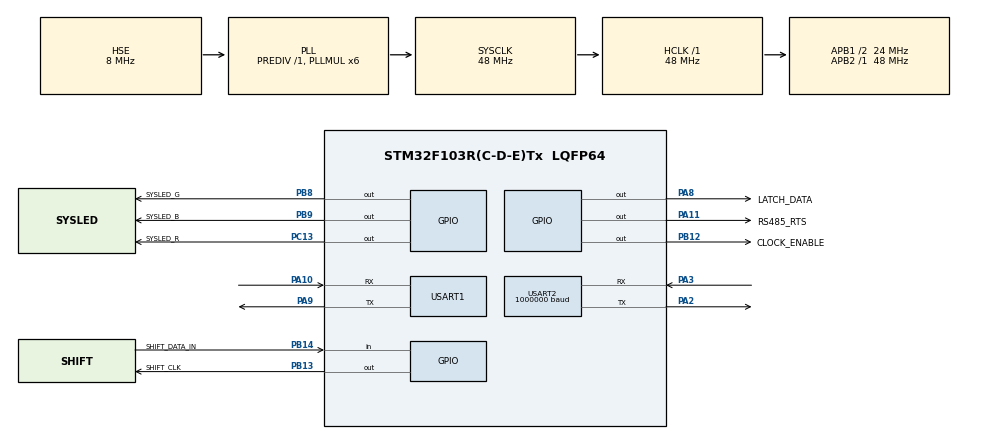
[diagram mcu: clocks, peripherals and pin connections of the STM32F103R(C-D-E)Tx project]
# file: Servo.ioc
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Mcu.Family=STM32F1
Mcu.Name=STM32F103R(C-D-E)Tx
Mcu.Package=LQFP64
NVIC.PriorityGroup=NVIC_PRIORITYGROUP_4
NVIC.TIM2_IRQn=true\:0\:0\:false\:false\:true\:true\:true\:true
NVIC.USART1_IRQn=true\:0\:0\:false\:false\:true\:true\:true\:true
NVIC.USART2_IRQn=true\:0\:0\:false\:false\:true\:true\:true\:true
PA10.Mode=Asynchronous
PA10.Signal=USART1_RX
PA11.GPIO_Label=RS485_RTS
PA11.Signal=GPIO_Output
PA13.Mode=Serial_Wire
PA13.Signal=SYS_JTMS-SWDIO
PA14.Mode=Serial_Wire
PA14.Signal=SYS_JTCK-SWCLK
PA2.Mode=Asynchronous
PA2.Signal=USART2_TX
PA3.Mode=Asynchronous
PA3.Signal=USART2_RX
PA8.GPIO_Label=LATCH_DATA
PA8.GPIO_Speed=GPIO_SPEED_FREQ_MEDIUM
PA8.Signal=GPIO_Output
PA9.Mode=Asynchronous
PA9.Signal=USART1_TX
PB12.GPIO_Label=CLOCK_ENABLE
PB12.Signal=GPIO_Output
PB13.GPIO_Label=SHIFT_CLK
PB13.GPIO_Speed=GPIO_SPEED_FREQ_MEDIUM
PB13.Signal=GPIO_Output
PB14.GPIO_Label=SHIFT_DATA_IN
PB14.Signal=GPIO_Input
PB8.GPIO_Label=SYSLED_G
PB8.Signal=GPIO_Output
PB9.GPIO_Label=SYSLED_B
PB9.Signal=GPIO_Output
PC13-TAMPER-RTC.GPIO_Label=SYSLED_R
PC13-TAMPER-RTC.Signal=GPIO_Output
PD0-OSC_IN.Mode=HSE-External-Oscillator
PD0-OSC_IN.Signal=RCC_OSC_IN
PD1-OSC_OUT.Mode=HSE-External-Oscillator
PD1-OSC_OUT.Signal=RCC_OSC_OUT
ProjectManager.HeapSize=0x200
ProjectManager.StackSize=0x400
ProjectManager.TargetToolchain=STM32CubeIDE
RCC.AHBFreq_Value=48000000
RCC.APB1CLKDivider=RCC_HCLK_DIV2
RCC.APB1Freq_Value=24000000
RCC.APB1TimFreq_Value=48000000
RCC.APB2Freq_Value=48000000
RCC.APB2TimFreq_Value=48000000
RCC.HCLKFreq_Value=48000000
RCC.PLLMUL=RCC_PLL_MUL6
RCC.PLLSourceVirtual=RCC_PLLSOURCE_HSE
RCC.SYSCLKFreq_VALUE=48000000
RCC.SYSCLKSource=RCC_SYSCLKSOURCE_PLLCLK
RCC.USBFreq_Value=48000000
TIM1.Prescaler=47999
TIM2.Period=49
TIM2.Prescaler=47
USART1.VirtualMode=VM_ASYNC
USART2.BaudRate=1000000
USART2.VirtualMode=VM_ASYNC
VP_TIM1_VS_ClockSourceINT.Mode=Internal
VP_TIM2_VS_ClockSourceINT.Mode=Internal
board=custom

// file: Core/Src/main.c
/* USER CODE BEGIN Header */
/**
  ******************************************************************************
  * @file           : main.c
  * @brief          : Main program body
  ******************************************************************************
  * @attention
  *
  * Copyright (c) 2024 STMicroelectronics.
  * All rights reserved.
  *
  * This software is licensed under terms that can be found in the LICENSE file
  * in the root directory of this software component.
  * If no LICENSE file comes with this software, it is provided AS-IS.
  *
  ******************************************************************************
  */
/* USER CODE END Header */

#include "main.h"

/* USER CODE BEGIN Includes */
#include "mb.h"
#include "mbport.h"
#include "user_mb_app.h"

#include "servo_control.h"
#include "dwt_stm32_delay.h"
#include "74HC165.h"
#include "mb_app_data.h"
#include "app_cfg_data.h"

/* USER CODE END Includes */

TIM_HandleTypeDef htim1;
TIM_HandleTypeDef htim2;

UART_HandleTypeDef huart1;
UART_HandleTypeDef huart2;

void SystemClock_Config(void);
static void MX_GPIO_Init(void);
static void MX_USART1_UART_Init(void);
static void MX_TIM1_Init(void);
static void MX_TIM2_Init(void);
static void MX_USART2_UART_Init(void);

/* USER CODE BEGIN 0 */

extern uint8_t ucSDiscInBuf[];
extern uint16_t usSRegInBuf[];
extern uint16_t usSRegHoldBuf[];

/* USER CODE END 0 */

int main(void)
{
  /* USER CODE BEGIN 1 */
	uint32_t led_tick_ts = 0;
  /* USER CODE END 1 */

  /* MCU Configuration--------------------------------------------------------*/

  /* Reset of all peripherals, Initializes the Flash interface and the Systick. */
  HAL_Init();

  /* Configure the system clock */
  SystemClock_Config();

  /* Initialize all configured peripherals */
  MX_GPIO_Init();
  MX_USART1_UART_Init();
  MX_TIM1_Init();
  MX_TIM2_Init();
  MX_USART2_UART_Init();
  /* USER CODE BEGIN 2 */
  eMBInit( MB_RTU, 0x0A, &huart1, 115200, &htim2 );
  eMBEnable( );

//  DWT_Delay_Init();

  ServoCtrl_Init(&huart2);

  shift_reg_init(0, USER_SWITCH_SENS_NUMBER);
  app_mb_data_init();

  volatile uint32_t delay_cnt = msTimer_Now();
  // Задержка при включении, для того чтобы успели инициализировать сервоприводы
  do {
	  if(msTimer_DiffFrom(led_tick_ts) >= 500) {

		  HAL_GPIO_TogglePin(SYSLED_B_GPIO_Port, SYSLED_B_Pin);
		  led_tick_ts = HAL_GetTick();
	  }
  } while(msTimer_DiffFrom(delay_cnt) < 2000);

  HAL_GPIO_WritePin(SYSLED_G_GPIO_Port, SYSLED_B_Pin, RESET);

  /* USER CODE END 2 */

  /* Infinite loop */
  /* USER CODE BEGIN WHILE */
  while (1)
  {
	  // Опрос ModBus
	  eMBPoll();
	  // Обработка команда приложения
	  app_mb_cmd_proc();
	  // Обработка сервоприводов
	  ServoCtrl_Process();
	  // обработка концевиков
	  shift_reg_proccess(&ucSDiscInBuf[MB_IDX_DIN_SW_1_8_STATE], USER_SWITCH_SENS_NUMBER);

	  // Индикация Led
	  ServoCtrlStep_t step = ServoCtrl_StepGet();
	  uint16_t led_period = 500;

	  if(step == STATE_SCAN)
		  led_period = 200;
	  else if(step == STATE_POLL)
		  led_period = 500;
	  else if(step == STATE_STANDBY)
		  led_period = 2000;

	  if(msTimer_DiffFrom(led_tick_ts) > led_period) {

		  HAL_GPIO_TogglePin(SYSLED_G_GPIO_Port, SYSLED_G_Pin);
		  led_tick_ts = HAL_GetTick();
	  }

    /* USER CODE END WHILE */

  }
}

void SystemClock_Config(void)
{
  RCC_OscInitTypeDef RCC_OscInitStruct = {0};
  RCC_ClkInitTypeDef RCC_ClkInitStruct = {0};

  /** Initializes the RCC Oscillators according to the specified parameters
  * in the RCC_OscInitTypeDef structure.
  */
  RCC_OscInitStruct.OscillatorType = RCC_OSCILLATORTYPE_HSE;
  RCC_OscInitStruct.HSEState = RCC_HSE_ON;
  RCC_OscInitStruct.HSEPredivValue = RCC_HSE_PREDIV_DIV1;
  RCC_OscInitStruct.HSIState = RCC_HSI_ON;
  RCC_OscInitStruct.PLL.PLLState = RCC_PLL_ON;
  RCC_OscInitStruct.PLL.PLLSource = RCC_PLLSOURCE_HSE;
  RCC_OscInitStruct.PLL.PLLMUL = RCC_PLL_MUL6;
  if (HAL_RCC_OscConfig(&RCC_OscInitStruct) != HAL_OK)
  {
    Error_Handler();
  }

  /** Initializes the CPU, AHB and APB buses clocks
  */
  RCC_ClkInitStruct.ClockType = RCC_CLOCKTYPE_HCLK|RCC_CLOCKTYPE_SYSCLK
                              |RCC_CLOCKTYPE_PCLK1|RCC_CLOCKTYPE_PCLK2;
  RCC_ClkInitStruct.SYSCLKSource = RCC_SYSCLKSOURCE_PLLCLK;
  RCC_ClkInitStruct.AHBCLKDivider = RCC_SYSCLK_DIV1;
  RCC_ClkInitStruct.APB1CLKDivider = RCC_HCLK_DIV2;
  RCC_ClkInitStruct.APB2CLKDivider = RCC_HCLK_DIV1;

  if (HAL_RCC_ClockConfig(&RCC_ClkInitStruct, FLASH_LATENCY_1) != HAL_OK)
  {
    Error_Handler();
  }
}

static void MX_TIM1_Init(void)
{

  TIM_ClockConfigTypeDef sClockSourceConfig = {0};
  TIM_MasterConfigTypeDef sMasterConfig = {0};

  htim1.Instance = TIM1;
  htim1.Init.Prescaler = 47999;
  htim1.Init.CounterMode = TIM_COUNTERMODE_UP;
  htim1.Init.Period = 65535;
  htim1.Init.ClockDivision = TIM_CLOCKDIVISION_DIV1;
  htim1.Init.RepetitionCounter = 0;
  htim1.Init.AutoReloadPreload = TIM_AUTORELOAD_PRELOAD_DISABLE;
  if (HAL_TIM_Base_Init(&htim1) != HAL_OK)
  {
    Error_Handler();
  }
  sClockSourceConfig.ClockSource = TIM_CLOCKSOURCE_INTERNAL;
  if (HAL_TIM_ConfigClockSource(&htim1, &sClockSourceConfig) != HAL_OK)
  {
    Error_Handler();
  }
  sMasterConfig.MasterOutputTrigger = TIM_TRGO_RESET;
  sMasterConfig.MasterSlaveMode = TIM_MASTERSLAVEMODE_DISABLE;
  if (HAL_TIMEx_MasterConfigSynchronization(&htim1, &sMasterConfig) != HAL_OK)
  {
    Error_Handler();
  }

}

static void MX_TIM2_Init(void)
{

  TIM_ClockConfigTypeDef sClockSourceConfig = {0};
  TIM_MasterConfigTypeDef sMasterConfig = {0};

  htim2.Instance = TIM2;
  htim2.Init.Prescaler = 47;
  htim2.Init.CounterMode = TIM_COUNTERMODE_UP;
  htim2.Init.Period = 49;
  htim2.Init.ClockDivision = TIM_CLOCKDIVISION_DIV1;
  htim2.Init.AutoReloadPreload = TIM_AUTORELOAD_PRELOAD_DISABLE;
  if (HAL_TIM_Base_Init(&htim2) != HAL_OK)
  {
    Error_Handler();
  }
  sClockSourceConfig.ClockSource = TIM_CLOCKSOURCE_INTERNAL;
  if (HAL_TIM_ConfigClockSource(&htim2, &sClockSourceConfig) != HAL_OK)
  {
    Error_Handler();
  }
  sMasterConfig.MasterOutputTrigger = TIM_TRGO_RESET;
  sMasterConfig.MasterSlaveMode = TIM_MASTERSLAVEMODE_DISABLE;
  if (HAL_TIMEx_MasterConfigSynchronization(&htim2, &sMasterConfig) != HAL_OK)
  {
    Error_Handler();
  }

}

static void MX_USART1_UART_Init(void)
{

  huart1.Instance = USART1;
  huart1.Init.BaudRate = 115200;
  huart1.Init.WordLength = UART_WORDLENGTH_8B;
  huart1.Init.StopBits = UART_STOPBITS_1;
  huart1.Init.Parity = UART_PARITY_NONE;
  huart1.Init.Mode = UART_MODE_TX_RX;
  huart1.Init.HwFlowCtl = UART_HWCONTROL_NONE;
  huart1.Init.OverSampling = UART_OVERSAMPLING_16;
  if (HAL_UART_Init(&huart1) != HAL_OK)
  {
    Error_Handler();
  }

}

static void MX_USART2_UART_Init(void)
{

  huart2.Instance = USART2;
  huart2.Init.BaudRate = 1000000;
  huart2.Init.WordLength = UART_WORDLENGTH_8B;
  huart2.Init.StopBits = UART_STOPBITS_1;
  huart2.Init.Parity = UART_PARITY_NONE;
  huart2.Init.Mode = UART_MODE_TX_RX;
  huart2.Init.HwFlowCtl = UART_HWCONTROL_NONE;
  huart2.Init.OverSampling = UART_OVERSAMPLING_16;
  if (HAL_UART_Init(&huart2) != HAL_OK)
  {
    Error_Handler();
  }

}

static void MX_GPIO_Init(void)
{
  GPIO_InitTypeDef GPIO_InitStruct = {0};

  /* GPIO Ports Clock Enable */
  __HAL_RCC_GPIOC_CLK_ENABLE();
  __HAL_RCC_GPIOD_CLK_ENABLE();
  __HAL_RCC_GPIOA_CLK_ENABLE();
  __HAL_RCC_GPIOB_CLK_ENABLE();

  /*Configure GPIO pin Output Level */
  HAL_GPIO_WritePin(SYSLED_R_GPIO_Port, SYSLED_R_Pin, GPIO_PIN_RESET);

  /*Configure GPIO pin Output Level */
  HAL_GPIO_WritePin(GPIOB, CLOCK_ENABLE_Pin|SHIFT_CLK_Pin|SYSLED_G_Pin|SYSLED_B_Pin, GPIO_PIN_RESET);

  /*Configure GPIO pin Output Level */
  HAL_GPIO_WritePin(GPIOA, LATCH_DATA_Pin|RS485_RTS_Pin, GPIO_PIN_RESET);

  /*Configure GPIO pin : SYSLED_R_Pin */
  GPIO_InitStruct.Pin = SYSLED_R_Pin;
  GPIO_InitStruct.Mode = GPIO_MODE_OUTPUT_PP;
  GPIO_InitStruct.Pull = GPIO_NOPULL;
  GPIO_InitStruct.Speed = GPIO_SPEED_FREQ_LOW;
  HAL_GPIO_Init(SYSLED_R_GPIO_Port, &GPIO_InitStruct);

  /*Configure GPIO pins : CLOCK_ENABLE_Pin SYSLED_G_Pin SYSLED_B_Pin */
  GPIO_InitStruct.Pin = CLOCK_ENABLE_Pin|SYSLED_G_Pin|SYSLED_B_Pin;
  GPIO_InitStruct.Mode = GPIO_MODE_OUTPUT_PP;
  GPIO_InitStruct.Pull = GPIO_NOPULL;
  GPIO_InitStruct.Speed = GPIO_SPEED_FREQ_LOW;
  HAL_GPIO_Init(GPIOB, &GPIO_InitStruct);

  /*Configure GPIO pin : SHIFT_CLK_Pin */
  GPIO_InitStruct.Pin = SHIFT_CLK_Pin;
  GPIO_InitStruct.Mode = GPIO_MODE_OUTPUT_PP;
  GPIO_InitStruct.Pull = GPIO_NOPULL;
  GPIO_InitStruct.Speed = GPIO_SPEED_FREQ_MEDIUM;
  HAL_GPIO_Init(SHIFT_CLK_GPIO_Port, &GPIO_InitStruct);

  /*Configure GPIO pin : SHIFT_DATA_IN_Pin */
  GPIO_InitStruct.Pin = SHIFT_DATA_IN_Pin;
  GPIO_InitStruct.Mode = GPIO_MODE_INPUT;
  GPIO_InitStruct.Pull = GPIO_NOPULL;
  HAL_GPIO_Init(SHIFT_DATA_IN_GPIO_Port, &GPIO_InitStruct);

  /*Configure GPIO pin : LATCH_DATA_Pin */
  GPIO_InitStruct.Pin = LATCH_DATA_Pin;
  GPIO_InitStruct.Mode = GPIO_MODE_OUTPUT_PP;
  GPIO_InitStruct.Pull = GPIO_NOPULL;
  GPIO_InitStruct.Speed = GPIO_SPEED_FREQ_MEDIUM;
  HAL_GPIO_Init(LATCH_DATA_GPIO_Port, &GPIO_InitStruct);

  /*Configure GPIO pin : RS485_RTS_Pin */
  GPIO_InitStruct.Pin = RS485_RTS_Pin;
  GPIO_InitStruct.Mode = GPIO_MODE_OUTPUT_PP;
  GPIO_InitStruct.Pull = GPIO_NOPULL;
  GPIO_InitStruct.Speed = GPIO_SPEED_FREQ_LOW;
  HAL_GPIO_Init(RS485_RTS_GPIO_Port, &GPIO_InitStruct);

}

/* USER CODE BEGIN 4 */

void app_cfg_data_store(void) {
	app_cfg_save(&app_cfg_data);
}

void HAL_UART_RxCpltCallback(UART_HandleTypeDef *huart)
{
	uint8_t result = 0, stat_reg = 0;

	//Overrun flag
	if(__HAL_UART_GET_FLAG(huart, UART_FLAG_ORE)) {
		stat_reg = huart->Instance->SR;
		//uint8_t dr = uart->Instance->DR;
	}

	result = xMBPortSerial_RxCpltCallback(huart);

	if(result == 0)
		PortServoSerial_RxCpltCallback(huart);

}

void HAL_UART_TxCpltCallback(UART_HandleTypeDef *huart)
{
	uint8_t result = 0; //, stat_reg = 0, data_reg = 0;
	result = xMBPortSerial_TxCpltCallback(huart);

	if(result == 0)
		PortServoSerial_TxCpltCallback(huart);

/*	if(__HAL_UART_GET_FLAG(huart, UART_FLAG_ORE)) {
		stat_reg = huart->Instance->SR;
		data_reg = huart->Instance->DR;
	}*/
}
/* USER CODE END 4 */

void Error_Handler(void)
{
  __disable_irq();
  while (1)
  {
  }
}
